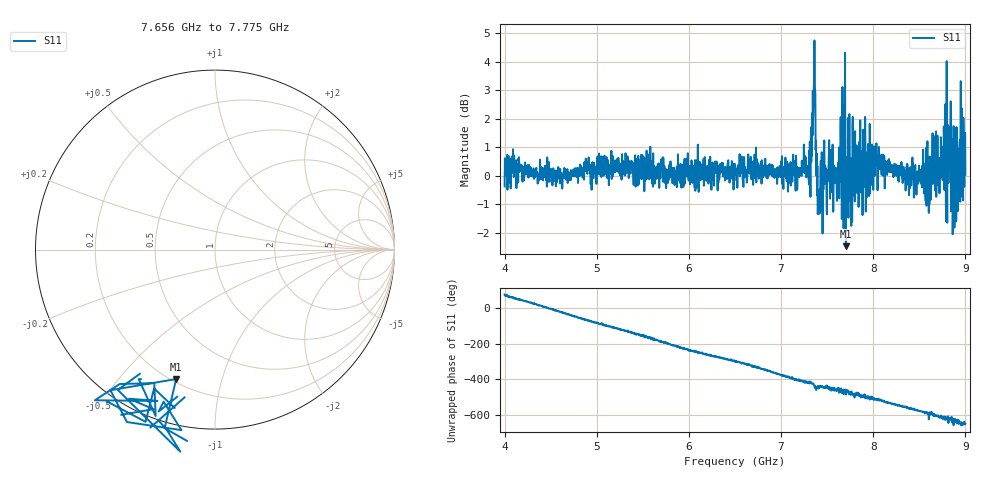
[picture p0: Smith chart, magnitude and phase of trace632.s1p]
! Created with skrf 1.8.0 (http://scikit-rf.org).
# Hz S RI R 50.0
!freq ReS11 ImS11
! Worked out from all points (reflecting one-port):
!   1601 points, 4 GHz to 9 GHz, reference 50 ohm
!   lowest |S11| = -2.5 dB at 7.703 GHz (marker M1), VSWR 7.09, Z = 10.8 - j36.1 ohm
!   phase of S11 starts at 75 deg and turns -726 deg over the sweep
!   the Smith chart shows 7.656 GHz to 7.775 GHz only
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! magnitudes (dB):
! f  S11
! 4 GHz  -0.4
! 4.1 GHz  0.0
! 4.625 GHz  -0.4
! 5.25 GHz  0.4
! 5.875 GHz  -0.2
! 6.5 GHz  0.2
! 7.125 GHz  0.4
! 7.297 GHz  0.2
! 7.316 GHz  0.1
! 7.347 GHz  2.0
! 7.369 GHz  3.1
! 7.4 GHz  -1.3
! 7.412 GHz  -1.0
! 7.534 GHz  -0.5
! 7.616 GHz  -0.6
! 7.669 GHz  1.3
! 7.703 GHz  -2.5
! 7.75 GHz  -0.4
! 8.009 GHz  0.9
! 8.375 GHz  -0.3
! 8.616 GHz  0.5
! 8.656 GHz  1.4
! 8.728 GHz  -0.1
! 8.759 GHz  0.5
! 8.819 GHz  0.3
! 8.869 GHz  -1.3
! 8.956 GHz  -0.1
! 9 GHz  0.0
